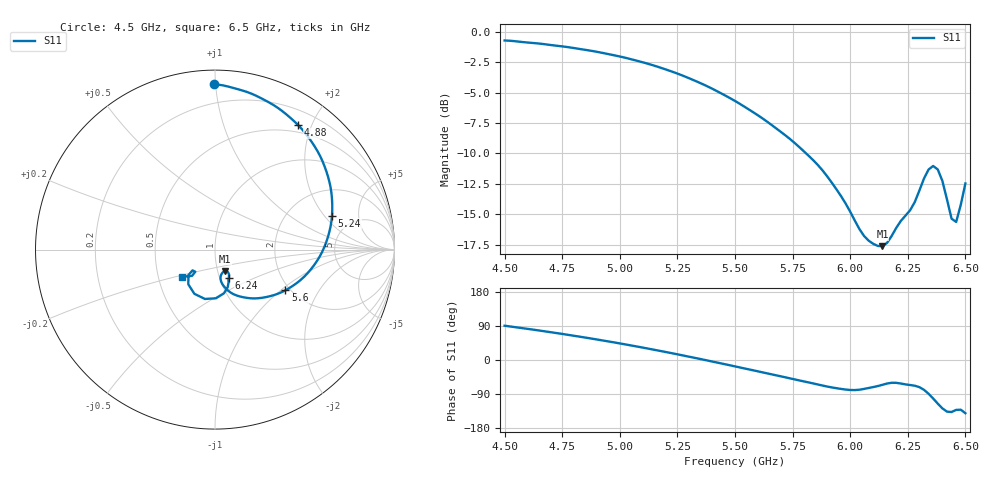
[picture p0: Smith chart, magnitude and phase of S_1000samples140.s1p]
! TOUCHSTONE file generated by CST MICROWAVE STUDIO
! Date and time: Thu Oct 27 03:31:15 2022
! Project name: L.cst
! Parameters = {Di=1.27; Epsilon_r=1.56; InnerDiameter=1.27; Length=2; Lf=10; Lg=60; OuterConductorThickness=0.2921; OuterDiameter=3.6; Wf=3; Wp=41.2; de=1.5; df=6.8; g=0.8; gx=2.93917; gy=4.15601; h=2.34; hf=1.524; px=13.6836; py=9.92004; w=9.7; wx=10.7444; wy=5.76403}
! Header version: 2018
! Port assignment regex: !\s*Touchstone port\s*([0-9]+)\s*=\s*(CST MWS port|CST DS port)\s*([0-9]+|Zmin|Zmax)\s*\(\"(.*)\"\)(\s*mode\s*([0-9]+))?.*
! Touchstone port assignment:
! Touchstone port 1 = CST MWS port 1 ("")
# GHz S DB R 50
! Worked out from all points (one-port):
!   101 points, 4.5 GHz to 6.5 GHz, reference 50 ohm
!   lowest |S11| = -17.6 dB at 6.14 GHz (marker M1), VSWR 1.30, Z = 54.1 - j13.2 ohm
!   |S11| at or under -10 dB: 5.809 GHz to end of sweep
!   S11 on the Smith chart (normalised r, x): 4.5 GHz: 0.08, +0.99; 4.88 GHz: 0.40, +1.80; 5.24 GHz: 3.43, +2.41; 5.6 GHz: 1.89, -1.08; 6.24 GHz: 1.10, -0.36; 6.5 GHz: 0.66, -0.21
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4.5  -0.71 90.5
4.64  -0.95 78.7
4.76  -1.22 67.9
4.88  -1.58 56.2
5  -2.03 43.8
5.12  -2.62 30.4
5.24  -3.36 16.2
5.26  -3.51 13.7
5.38  -4.48 -1.3
5.5  -5.69 -16.9
5.6  -6.87 -30.0
5.76  -9.16 -51.3
5.88  -11.40 -67.4
6  -14.79 -79.1
6.06  -16.79 -76.3
6.14  -17.63 -65.5
6.24  -15.12 -64.3
6.26  -14.68 -66.0
6.3  -13.07 -71.5
6.32  -12.08 -78.6
6.36  -11.03 -101.6
6.38  -11.32 -115.1
6.4  -12.26 -127.6
6.42  -13.78 -136.3
6.44  -15.37 -137.2
6.46  -15.64 -131.7
6.48  -14.22 -131.1
6.5  -12.47 -140.4
